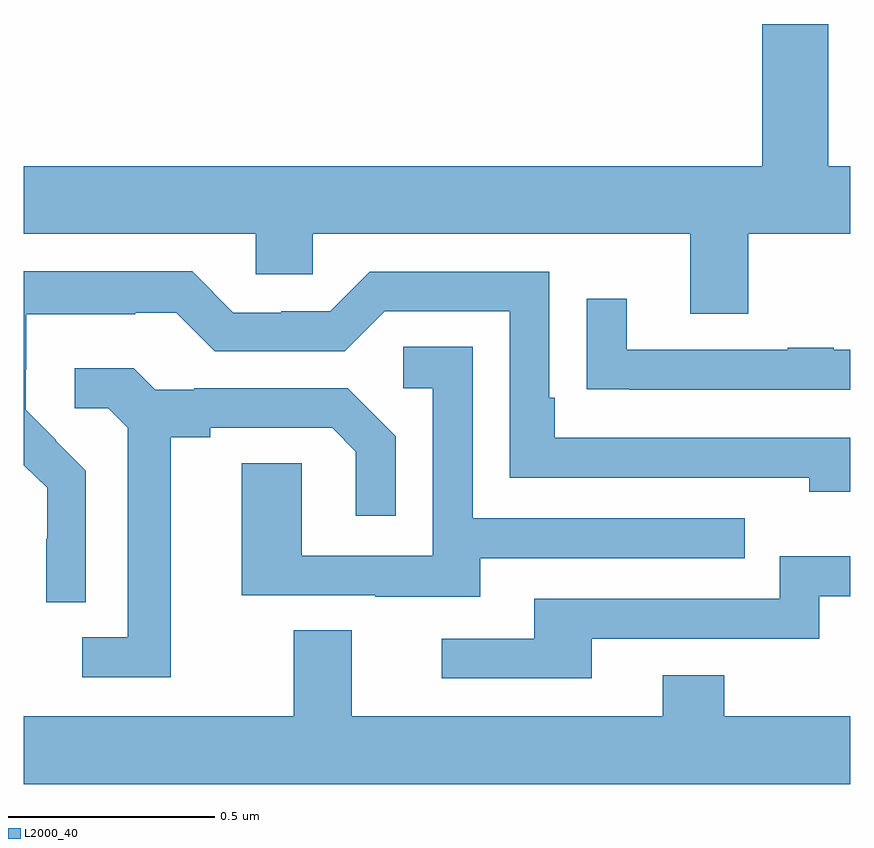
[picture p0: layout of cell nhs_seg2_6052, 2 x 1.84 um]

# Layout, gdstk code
import gdstk
lib = gdstk.Library(unit=1e-6, precision=1e-09)
def P(c, l, *ps):  # polygons
    for p in ps: c.add(gdstk.Polygon(p, *l))
L2000_40 = (2000, 40)

nhs_seg2_6052 = lib.new_cell('nhs_seg2_6052')
P(nhs_seg2_6052, L2000_40, [(187.753,658.292),(188,658.292),(188,658.456),(187.947,658.456),(187.947,658.8),(187.787,658.8),(187.787,658.456),(186,658.456),(186,658.292),(186.561,658.292),(186.561,658.194),(186.699,658.194),(186.699,658.292),(187.613,658.292),(187.613,658.098),(187.753,658.098)],
  [(186.15,657.718),(186.077,657.791),(186.078,657.792),(186.004,657.866),(186.004,657.963),(186.006,657.963),(186.006,658.097),(186.269,658.097),(186.269,658.101),(186.369,658.101),(186.462,658.008),(186.777,658.008),(186.873,658.104),(187.176,658.104),(187.176,657.702),(187.901,657.702),(187.901,657.668),(188,657.668),(188,657.798),(187.285,657.798),(187.285,657.895),(187.272,657.895),(187.272,658.2),(186.837,658.2),(186.741,658.104),(186.623,658.104),(186.623,658.101),(186.507,658.101),(186.407,658.201),(186,658.201),(186,657.732),(186.056,657.677),(186.056,657.554),(186.054,657.554),(186.054,657.4),(186.15,657.4)],
  [(188,658.011),(187.961,658.011),(187.961,658.016),(187.849,658.016),(187.849,658.011),(187.459,658.011),(187.459,658.135),(187.363,658.135),(187.363,657.916),(187.465,657.916),(187.465,657.915),(188,657.915)],
  [(187.105,657.507),(187.745,657.507),(187.745,657.603),(187.086,657.603),(187.086,658.019),(186.918,658.019),(186.918,657.918),(186.99,657.918),(186.99,657.513),(186.672,657.513),(186.672,657.737),(186.527,657.737),(186.527,657.417),(186.851,657.417),(186.851,657.413),(187.105,657.413)],
  [(186.355,657.8),(186.451,657.8),(186.451,657.822),(186.746,657.822),(186.803,657.765),(186.803,657.609),(186.9,657.609),(186.9,657.802),(186.784,657.918),(186.412,657.918),(186.412,657.915),(186.318,657.915),(186.266,657.967),(186.123,657.967),(186.123,657.87),(186.204,657.87),(186.251,657.823),(186.251,657.315),(186.141,657.315),(186.141,657.219),(186.355,657.219)],
  [(187.375,657.312),(187.926,657.312),(187.926,657.414),(188,657.414),(188,657.511),(187.83,657.511),(187.83,657.408),(187.235,657.408),(187.235,657.312),(187.011,657.312),(187.011,657.216),(187.375,657.216)],
  [(188,657.124),(187.695,657.124),(187.695,657.223),(187.547,657.223),(187.547,657.124),(186.793,657.124),(186.793,657.332),(186.653,657.332),(186.653,657.124),(186,657.124),(186,656.96),(188,656.96)])

lib.write_gds('nhs_seg2_6052.gds')
